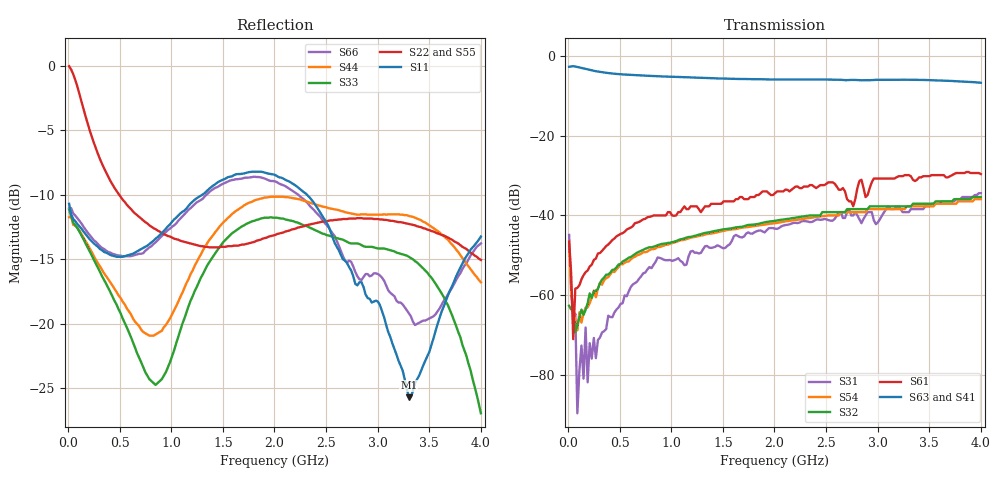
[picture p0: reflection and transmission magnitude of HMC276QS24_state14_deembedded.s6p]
! Hittite Microwave Corporation
! 20 Alpha Road
! Chelmsford, MA 01824
! Tel: 978-250-3343
! Fax: 978-250-3373
! Device: HMC276QS24, 0.7-3.0 GHz, GaAS MMIC 4x2 Switch Matrix in 24-lead QSOP package
! Misc: Data was de-embedded to package pins.
!  Port 1 = OP1
!  Port 2 = VL
!  Port 3 = VH
!  Port 4 = HH
!  Port 5 = HL
!  Port 6 = OP2
!  Vdd = +5 V
!  Vctl = 0 V[Logic 0] / +5 V[Logic 1]
!  State 14,  HH to OP1, VH to OP2
!  Control Lines (Logic)
!  HV 1 = 1, Tone 1 = 1
!  HV 2 = 0, Tone 2 = 1
!  Data reformated to new Touchstone file format - Wed Jan 10 15:59:03 2007
# MHz S DB R 50
! 6 Port Network Data
! freq  dbS11  angS11  dbS12  angS12  dbS13  angS13  dbS14  angS14
!  dbS15  angS15  dbS16  angS16
!  dbS21  angS21  dbS22  angS22
!  dbS23  angS23  dbS24  angS24  dbS25  angS25  dbS26  angS26
!  dbS31  angS31  dbS32  angS32  dbS33  angS33  dbS34  angS34
!  dbS35  angS35  dbS36  angS36
!  dbS41  angS41  dbS42  angS42
!  dbS43  angS43  dbS44  angS44  dbS45  angS45  dbS46  angS46
!  dbS51  angS51  dbS52  angS52  dbS53  angS53  dbS54  angS54
!  dbS55  angS55  dbS56  angS56
!  dbS61  angS61  dbS62  angS62
!  dbS63  angS63  dbS64  angS64  dbS65  angS65  dbS66  angS66
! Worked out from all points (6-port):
!   201 points, 10 MHz to 4 GHz, reference 50 ohm
!   strongest paths, dB at 10 MHz, 1.008 GHz, 2.005 GHz, 3.002 GHz, 4 GHz:
!     S63: -2.7, -5.3, -5.9, -6.0, -6.7
!     S41: -2.6, -5.3, -6.1, -6.2, -6.9
!     S61: -46.5, -40.0, -34.4, -30.8, -29.6
!     S32: -62.6, -46.7, -41.4, -37.7, -35.4
!     S54: -47.3, -47.0, -41.9, -38.4, -35.9
!     S31: -44.9, -51.4, -43.3, -41.7, -34.4
!   lowest |S11| = -25.7 dB at 3.302 GHz (marker M1), VSWR 1.11, Z = 54.2 + j3.37 ohm
!   |S11| at or under -10 dB: start of sweep to 1.298 GHz; 2.317 GHz to end of sweep
